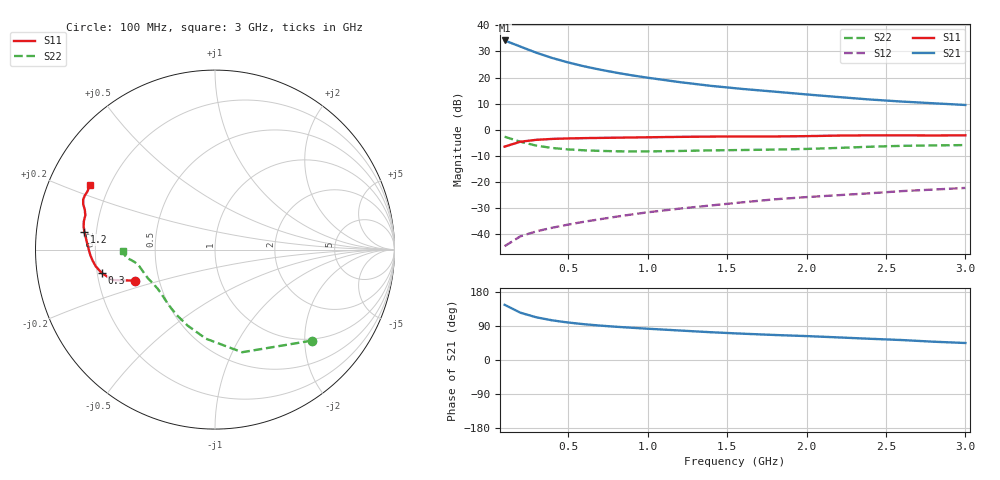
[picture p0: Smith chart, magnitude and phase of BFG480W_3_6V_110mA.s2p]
! Filename: 3_6110BFG480.001
! Title: BFG480W
! Bias: Vce=3.6V; Ic=110mA
! Company: Philips Semiconductors NL
! User: Quality&Reliability T&D
! Measure time: 10 Nov 1999 / 12:01:12
#  MHz  S  MA  R 50
! Freq  S11  S21  S12  S22  :
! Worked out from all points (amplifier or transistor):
!   20 points, 100 MHz to 3 GHz, reference 50 ohm
!   highest |S21| = 34.2 dB at 100 MHz (marker M1)
!   |S21| within 3 dB of that: start of sweep to 227.5 MHz
!   unconditionally stable (mu >= 1): 660.9 MHz to end of sweep
!   at 400 MHz: K = 0.84, MSG = 32.4 dB, |S12| = -37.4 dB
!   at 1.2 GHz: K = 1.08, MAG = 22.4 dB, |S12| = -30.1 dB
!   at 3 GHz: K = 1.05, MAG = 14.5 dB, |S12| = -22.2 dB
!   S11 on the Smith chart (normalised r, x): 100 MHz: 0.36, -0.16; 300 MHz: 0.22, -0.10; 1.2 GHz: 0.15, +0.07; 3 GHz: 0.13, +0.24
100  0.4778 -158.8  51.16 145.7  0.005974 69.1  0.7396 -43.3
200  0.594 -163.4  39 124.7  0.009242 61.2  0.5915 -75.2
300  0.6444 -168.3  29.79 112.6  0.01147 60.5  0.499 -95.8
400  0.671 -172.0  23.62 104.6  0.01347 62.5  0.4498 -109.9
500  0.6849 -174.9  19.44 98.9  0.01544 64.9  0.4227 -120.1
600  0.6947 -177.3  16.4 94.4  0.0175 66.6  0.4065 -127.5
700  0.7015 -179.4  14.17 90.8  0.01956 68.7  0.3961 -133.3
800  0.7075 178.7  12.43 87.7  0.0218 70.3  0.3895 -138.1
900  0.7146 176.9  11.04 85.1  0.0241 71.9  0.3866 -142.3
1000  0.7209 175.2  9.924 82.6  0.02652 72.9  0.3869 -145.9
1200  0.734 172.3  8.186 77.9  0.03117 74.3  0.3946 -151.9
1400  0.7432 170.1  6.927 73.2  0.03589 75.1  0.4051 -156.2
1600  0.7476 167.8  6.042 69.4  0.04125 75.7  0.4117 -159.6
1800  0.7473 165.2  5.371 66.0  0.047 76.2  0.4195 -163.2
2000  0.7583 163.0  4.754 63.1  0.05179 76.6  0.4317 -167.5
2200  0.7768 161.0  4.241 59.6  0.05637 76.5  0.4512 -171.0
2400  0.7856 159.2  3.8 56.0  0.06128 75.9  0.4755 -173.3
2600  0.7854 157.6  3.474 52.7  0.06742 75.2  0.4945 -174.7
2800  0.781 155.3  3.219 48.3  0.07224 73.7  0.5039 -176.5
3000  0.7859 152.6  2.989 44.9  0.07757 72.9  0.5117 -179.3
